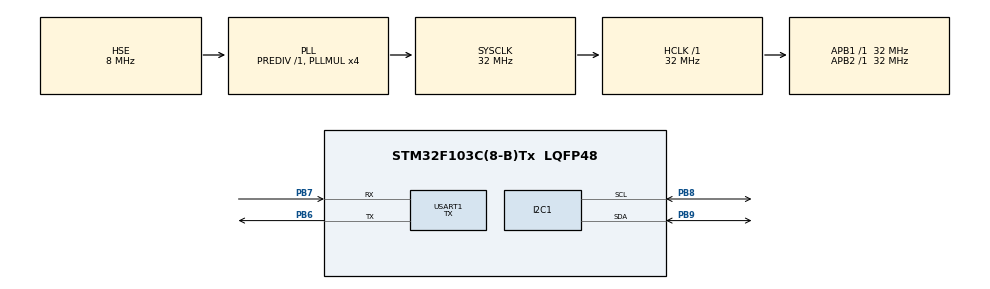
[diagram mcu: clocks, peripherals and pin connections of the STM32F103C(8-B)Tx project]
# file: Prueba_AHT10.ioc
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Mcu.Family=STM32F1
Mcu.Name=STM32F103C(8-B)Tx
Mcu.Package=LQFP48
NVIC.PriorityGroup=NVIC_PRIORITYGROUP_4
PA13.Mode=Serial_Wire
PA13.Signal=SYS_JTMS-SWDIO
PA14.Mode=Serial_Wire
PA14.Signal=SYS_JTCK-SWCLK
PB6.Mode=Asynchronous
PB6.Signal=USART1_TX
PB7.Mode=Asynchronous
PB7.Signal=USART1_RX
PB8.GPIO_Mode=GPIO_MODE_AF_OD
PB8.Mode=I2C
PB8.Signal=I2C1_SCL
PB9.Mode=I2C
PB9.Signal=I2C1_SDA
PD0-OSC_IN.Mode=HSE-External-Oscillator
PD0-OSC_IN.Signal=RCC_OSC_IN
PD1-OSC_OUT.Mode=HSE-External-Oscillator
PD1-OSC_OUT.Signal=RCC_OSC_OUT
ProjectManager.HeapSize=0x200
ProjectManager.StackSize=0x400
ProjectManager.TargetToolchain=STM32CubeIDE
RCC.AHBFreq_Value=32000000
RCC.APB1Freq_Value=32000000
RCC.APB1TimFreq_Value=32000000
RCC.APB2Freq_Value=32000000
RCC.APB2TimFreq_Value=32000000
RCC.HCLKFreq_Value=32000000
RCC.PLLMUL=RCC_PLL_MUL4
RCC.PLLSourceVirtual=RCC_PLLSOURCE_HSE
RCC.SYSCLKFreq_VALUE=32000000
RCC.SYSCLKSource=RCC_SYSCLKSOURCE_PLLCLK
RCC.USBFreq_Value=32000000
USART1.Mode=MODE_TX
USART1.VirtualMode=VM_ASYNC
board=custom

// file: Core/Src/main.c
/* USER CODE BEGIN Header */
/**
  ******************************************************************************
  * @file           : main.c
  * @brief          : Main program body
  ******************************************************************************
  * @attention
  *
  * Copyright (c) 2022 STMicroelectronics.
  * All rights reserved.
  *
  * This software is licensed under terms that can be found in the LICENSE file
  * in the root directory of this software component.
  * If no LICENSE file comes with this software, it is provided AS-IS.
  *
  ******************************************************************************
  */
/* USER CODE END Header */
#include "main.h"

/* USER CODE BEGIN Includes */
#include <stdio.h>
/* USER CODE END Includes */

/* USER CODE BEGIN PD */
#define I2C_ADDRESS_AHT10 0x38
#define TRIGGER_MEASUREMENT 0xAC
#define DATA0 0x33
#define DATA1 0x00
/* USER CODE END PD */

I2C_HandleTypeDef hi2c1;

UART_HandleTypeDef huart1;

/* USER CODE BEGIN PV */
float tcelsius, hr; // Temperatura (en °C) y humedad relativa (%)
/* USER CODE END PV */

void SystemClock_Config(void);
static void MX_GPIO_Init(void);
static void MX_I2C1_Init(void);
static void MX_USART1_UART_Init(void);
/* USER CODE BEGIN PFP */
void AHT10_Read(void);
/* USER CODE END PFP */

/* USER CODE BEGIN 0 */

/* Esta función permite leer datos de temperatura y humedad del sensor AHT10. Para que el sensor
 * comience con las mediciones, es necesario enviar un comando de disparo de medición (trigger
 * measurement) junto con dos bytes de datos DATA0 y DATA1. El sensor tardará un tiempo en
 * realizar la medición y recolectar los datos (más de 75 ms). Transcurrido ese tiempo,
 * los datos de temperatura y humedad son recibidos, repartidos en 5 bytes, junto con un byte que
 * indica el estado del sensor */
void AHT10_Read(){

	/* Definimos el comando de disparo de medición y lo enviamos a través de I2C1 */
	uint8_t triggerdata[3] = {TRIGGER_MEASUREMENT,DATA0,DATA1};
	HAL_I2C_Master_Transmit(&hi2c1, I2C_ADDRESS_AHT10<<1, triggerdata, sizeof(triggerdata), 0xFFFF);
	HAL_Delay(100); // Demora de 100 ms para que el sensor recolecte los datos

	/* Debemos recibir el dato de temperatura y humedad y guardarlo en la variable correspondiente.
	 * Para ello debemos tener en cuenta que la trama de comunicación serie recibida desde el sensor
	 * constará de 6 bytes:
	 * - BYTE 0: Byte de estado (status) que indica el estado del sensor
	 * - BYTE 1: Dato de humedad
	 * - BYTE 2: Dato de humedad
	 * - BYTE 3: Dato de humedad (4 bits más significativos) y dato de temp. (4 bits menos significativos)
	 * - BYTE 4: Dato de temperatura
	 * - BYTE 5: Dato de temperatura
	 * Tanto el dato de temperatura como el dato de humedad ocupan 20 bits.
	 */
	uint32_t temp, hum; // Variables para guardar los datos recibidos de temperatura y humedad
	uint8_t bufdata[6]; // Buffer para guardar los datos recibidos desde el sensor
	if(HAL_I2C_Master_Receive(&hi2c1, I2C_ADDRESS_AHT10<<1, bufdata, sizeof(bufdata), 0xFFFF) == HAL_OK){

		/* Obtenemos el dato de humedad y lo guardamos en la variable hum */
		hum=bufdata[1]<<8; // Desplazamos el BYTE 1 8 posiciones hacia la izquierda
		hum|=bufdata[2]; // Concatenamos el BYTE 2 usando el operador lógico OR
		hum<<=4; // Desplazamos el contenido de hum 4 pos. hacia la izq.
		hum|=(bufdata[3] & 0xF0)>>4; // Concanetamos los 4 bits más significativos del BYTE 3 usando una máscara y el operador OR

		/* Obtenemos el dato de temperatura y lo guardamos en la variable temp */
		temp=(bufdata[3] & 0x0F)<<8; // Obtenemos los 4 bits menos significativos del BYTE3 usando una máscara y los desplazamos 8 pos. hacia la der.
		temp|=bufdata[4]; // Concatenamos el BYTE 4 usando el operador OR
		temp<<=8; // Desplazamos el contenido de temp 8 pos. hacia la der.
		temp|=bufdata[5]; // Concatenamos el BYTE 5 usando el operador OR

		/* Realizamos la conversión del dato de temperatura recibido desde la línea SDA a temperatura
		 * expresada en grados celsius (°C) utilizando la fórmula provista por la hoja de datos
		 * T(°C)=(temp/2^20)*200-50
		 * Como 2^20=1.048.576 --> T(°C)=(temp/1048576)*200-50 */
		tcelsius=(temp/1048576.0)*200.0-50.0;

		/* Realizamos la conversión del dato de humedad recibido desde la línea SDA a humedad
		 * relativa expresada en porcentaje, utilizando la fórmula provista por la hoja de datos
		 * HR=(hum/2^20)*100
		 * Como 2^20=1.048.576 --> HR=(hum/1048576)*100 */
		hr=(hum/1048576.0)*100.0;
	}
}

/* USER CODE END 0 */

int main(void)
{

  /* MCU Configuration--------------------------------------------------------*/

  /* Reset of all peripherals, Initializes the Flash interface and the Systick. */
  HAL_Init();

  /* Configure the system clock */
  SystemClock_Config();

  /* Initialize all configured peripherals */
  MX_GPIO_Init();
  MX_I2C1_Init();
  MX_USART1_UART_Init();

  /* Infinite loop */
  while (1)
  {

    /* USER CODE BEGIN 3 */
	  AHT10_Read();
	  HAL_Delay(500);
  }
  /* USER CODE END 3 */
}

void SystemClock_Config(void)
{
  RCC_OscInitTypeDef RCC_OscInitStruct = {0};
  RCC_ClkInitTypeDef RCC_ClkInitStruct = {0};

  /** Initializes the RCC Oscillators according to the specified parameters
  * in the RCC_OscInitTypeDef structure.
  */
  RCC_OscInitStruct.OscillatorType = RCC_OSCILLATORTYPE_HSE;
  RCC_OscInitStruct.HSEState = RCC_HSE_ON;
  RCC_OscInitStruct.HSEPredivValue = RCC_HSE_PREDIV_DIV1;
  RCC_OscInitStruct.HSIState = RCC_HSI_ON;
  RCC_OscInitStruct.PLL.PLLState = RCC_PLL_ON;
  RCC_OscInitStruct.PLL.PLLSource = RCC_PLLSOURCE_HSE;
  RCC_OscInitStruct.PLL.PLLMUL = RCC_PLL_MUL4;
  if (HAL_RCC_OscConfig(&RCC_OscInitStruct) != HAL_OK)
  {
    Error_Handler();
  }

  /** Initializes the CPU, AHB and APB buses clocks
  */
  RCC_ClkInitStruct.ClockType = RCC_CLOCKTYPE_HCLK|RCC_CLOCKTYPE_SYSCLK
                              |RCC_CLOCKTYPE_PCLK1|RCC_CLOCKTYPE_PCLK2;
  RCC_ClkInitStruct.SYSCLKSource = RCC_SYSCLKSOURCE_PLLCLK;
  RCC_ClkInitStruct.AHBCLKDivider = RCC_SYSCLK_DIV1;
  RCC_ClkInitStruct.APB1CLKDivider = RCC_HCLK_DIV1;
  RCC_ClkInitStruct.APB2CLKDivider = RCC_HCLK_DIV1;

  if (HAL_RCC_ClockConfig(&RCC_ClkInitStruct, FLASH_LATENCY_1) != HAL_OK)
  {
    Error_Handler();
  }
}

static void MX_I2C1_Init(void)
{

  hi2c1.Instance = I2C1;
  hi2c1.Init.ClockSpeed = 100000;
  hi2c1.Init.DutyCycle = I2C_DUTYCYCLE_2;
  hi2c1.Init.OwnAddress1 = 0;
  hi2c1.Init.AddressingMode = I2C_ADDRESSINGMODE_7BIT;
  hi2c1.Init.DualAddressMode = I2C_DUALADDRESS_DISABLE;
  hi2c1.Init.OwnAddress2 = 0;
  hi2c1.Init.GeneralCallMode = I2C_GENERALCALL_DISABLE;
  hi2c1.Init.NoStretchMode = I2C_NOSTRETCH_DISABLE;
  if (HAL_I2C_Init(&hi2c1) != HAL_OK)
  {
    Error_Handler();
  }

}

static void MX_USART1_UART_Init(void)
{

  huart1.Instance = USART1;
  huart1.Init.BaudRate = 115200;
  huart1.Init.WordLength = UART_WORDLENGTH_8B;
  huart1.Init.StopBits = UART_STOPBITS_1;
  huart1.Init.Parity = UART_PARITY_NONE;
  huart1.Init.Mode = UART_MODE_TX;
  huart1.Init.HwFlowCtl = UART_HWCONTROL_NONE;
  huart1.Init.OverSampling = UART_OVERSAMPLING_16;
  if (HAL_UART_Init(&huart1) != HAL_OK)
  {
    Error_Handler();
  }

}

static void MX_GPIO_Init(void)
{

  /* GPIO Ports Clock Enable */
  __HAL_RCC_GPIOD_CLK_ENABLE();
  __HAL_RCC_GPIOA_CLK_ENABLE();
  __HAL_RCC_GPIOB_CLK_ENABLE();

}

void Error_Handler(void)
{
  __disable_irq();
  while (1)
  {
  }
}
